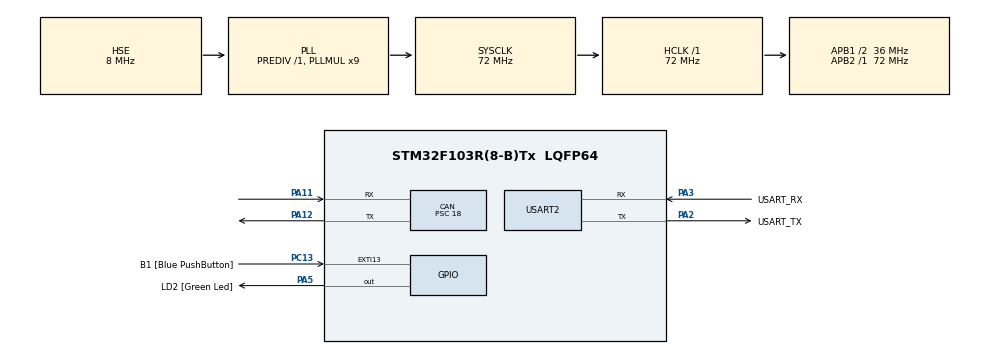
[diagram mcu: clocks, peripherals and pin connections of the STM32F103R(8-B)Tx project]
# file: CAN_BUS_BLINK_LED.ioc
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CAN.BS1=CAN_BS1_2TQ
CAN.CalculateBaudRate=500000
CAN.CalculateTimeBit=2000
CAN.CalculateTimeQuantum=500.0
CAN.Prescaler=18
Mcu.Family=STM32F1
Mcu.Name=STM32F103R(8-B)Tx
Mcu.Package=LQFP64
NVIC.EXTI15_10_IRQn=true\:0\:0\:false\:false\:true\:true\:true\:true
NVIC.PriorityGroup=NVIC_PRIORITYGROUP_4
NVIC.USB_LP_CAN1_RX0_IRQn=true\:0\:0\:false\:false\:true\:true\:true\:true
PA11.Mode=CAN_Activate
PA11.Signal=CAN_RX
PA12.Mode=CAN_Activate
PA12.Signal=CAN_TX
PA13.GPIO_Label=TMS
PA13.Mode=Serial_Wire
PA13.Signal=SYS_JTMS-SWDIO
PA14.GPIO_Label=TCK
PA14.Mode=Serial_Wire
PA14.Signal=SYS_JTCK-SWCLK
PA2.GPIO_Label=USART_TX
PA2.GPIO_Mode=GPIO_MODE_AF_PP
PA2.GPIO_PuPd=GPIO_NOPULL
PA2.GPIO_Speed=GPIO_SPEED_FREQ_LOW
PA2.Mode=Asynchronous
PA2.Signal=USART2_TX
PA3.GPIO_Label=USART_RX
PA3.GPIO_Mode=GPIO_MODE_AF_PP
PA3.GPIO_PuPd=GPIO_NOPULL
PA3.GPIO_Speed=GPIO_SPEED_FREQ_LOW
PA3.Mode=Asynchronous
PA3.Signal=USART2_RX
PA5.GPIO_Label=LD2 [Green Led]
PA5.GPIO_ModeDefaultOutputPP=GPIO_MODE_OUTPUT_PP
PA5.GPIO_PuPd=GPIO_NOPULL
PA5.GPIO_Speed=GPIO_SPEED_FREQ_LOW
PA5.Signal=GPIO_Output
PB3.GPIO_Label=SWO
PB3.Signal=SYS_JTDO-TRACESWO
PC13-TAMPER-RTC.GPIO_Label=B1 [Blue PushButton]
PC13-TAMPER-RTC.GPIO_PuPd=GPIO_NOPULL
PC13-TAMPER-RTC.Signal=GPXTI13
PC14-OSC32_IN.Signal=RCC_OSC32_IN
PC15-OSC32_OUT.Signal=RCC_OSC32_OUT
PD0-OSC_IN.Mode=HSE-External-Oscillator
PD0-OSC_IN.Signal=RCC_OSC_IN
PD1-OSC_OUT.Mode=HSE-External-Oscillator
PD1-OSC_OUT.Signal=RCC_OSC_OUT
ProjectManager.HeapSize=0x200
ProjectManager.StackSize=0x400
ProjectManager.TargetToolchain=STM32CubeIDE
RCC.AHBFreq_Value=72000000
RCC.APB1CLKDivider=RCC_HCLK_DIV2
RCC.APB1Freq_Value=36000000
RCC.APB1TimFreq_Value=72000000
RCC.APB2Freq_Value=72000000
RCC.APB2TimFreq_Value=72000000
RCC.HCLKFreq_Value=72000000
RCC.PLLMUL=RCC_PLL_MUL9
RCC.PLLSourceVirtual=RCC_PLLSOURCE_HSE
RCC.RTCClockSelection=RCC_RTCCLKSOURCE_LSE
RCC.SYSCLKFreq_VALUE=72000000
RCC.SYSCLKSource=RCC_SYSCLKSOURCE_PLLCLK
RCC.USBFreq_Value=72000000
USART2.VirtualMode=VM_ASYNC
board=NUCLEO-F103RB

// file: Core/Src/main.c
/* USER CODE BEGIN Header */
/**
  ******************************************************************************
  * @file           : main.c
  * @brief          : Main program body
  ******************************************************************************
  * @attention
  *
  * Copyright (c) 2025 STMicroelectronics.
  * All rights reserved.
  *
  * This software is licensed under terms that can be found in the LICENSE file
  * in the root directory of this software component.
  * If no LICENSE file comes with this software, it is provided AS-IS.
  *
  ******************************************************************************
  */
/* USER CODE END Header */
#include "main.h"

CAN_HandleTypeDef hcan;

UART_HandleTypeDef huart2;

void SystemClock_Config(void);
static void MX_GPIO_Init(void);
static void MX_USART2_UART_Init(void);
static void MX_CAN_Init(void);

/* USER CODE BEGIN 0 */
CAN_TxHeaderTypeDef   TxHeader;
CAN_TxHeaderTypeDef   RxHeader;
uint8_t               TxData[8];
uint8_t               RxData[8];
uint32_t              TxMailbox;

int datacheck = 0;

void HAL_GPIO_EXTI_Callback(uint16_t GPIO_Pin)
{
	if(GPIO_Pin == GPIO_PIN_13)
	{
		TxData[0] = 100; //ms delay
		TxData[1] = 10; // loop repeat

		HAL_CAN_AddTxMessage(&hcan, &TxHeader, TxData, &TxMailbox);
	}
}

void HAL_CAN_RxFifo0MsgPendingCallback(CAN_HandleTypeDef *hcan)
{
	//count++;
	HAL_CAN_GetRxMessage(hcan, CAN_RX_FIFO0, &RxHeader, RxData);

	if(RxHeader.DLC == 2)
		datacheck = 1;
}
/* USER CODE END 0 */

int main(void)
{

  /* MCU Configuration--------------------------------------------------------*/

  /* Reset of all peripherals, Initializes the Flash interface and the Systick. */
  HAL_Init();

  /* Configure the system clock */
  SystemClock_Config();

  /* Initialize all configured peripherals */
  MX_GPIO_Init();
  MX_USART2_UART_Init();
  MX_CAN_Init();
  /* USER CODE BEGIN 2 */
  HAL_CAN_Start(&hcan);

    HAL_CAN_ActivateNotification(&hcan, CAN_IT_RX_FIFO0_MSG_PENDING);

    TxHeader.DLC = 2;
    TxHeader.ExtId = 0;
    TxHeader.IDE = CAN_ID_STD;
    TxHeader.RTR = CAN_RTR_DATA;
    TxHeader.StdId = 0x446;
//    TxHeader.TransmitGlobalTime = DISABLE;
//    TxData[0] = 0xf3;

  /* USER CODE END 2 */

  /* Infinite loop */
  while (1)
  {

    /* USER CODE BEGIN 3 */
	  if(datacheck)
	  {
		  for(int i=0;i< RxData[1];i++)
		  {
			  HAL_GPIO_TogglePin(GPIOA, GPIO_PIN_5);
			  HAL_Delay(RxData[0]);
		  }
		  datacheck=0;
	  }

  }
  /* USER CODE END 3 */
}

void SystemClock_Config(void)
{
  RCC_OscInitTypeDef RCC_OscInitStruct = {0};
  RCC_ClkInitTypeDef RCC_ClkInitStruct = {0};

  /** Initializes the RCC Oscillators according to the specified parameters
  * in the RCC_OscInitTypeDef structure.
  */
  RCC_OscInitStruct.OscillatorType = RCC_OSCILLATORTYPE_HSE;
  RCC_OscInitStruct.HSEState = RCC_HSE_ON;
  RCC_OscInitStruct.HSEPredivValue = RCC_HSE_PREDIV_DIV1;
  RCC_OscInitStruct.HSIState = RCC_HSI_ON;
  RCC_OscInitStruct.PLL.PLLState = RCC_PLL_ON;
  RCC_OscInitStruct.PLL.PLLSource = RCC_PLLSOURCE_HSE;
  RCC_OscInitStruct.PLL.PLLMUL = RCC_PLL_MUL9;
  if (HAL_RCC_OscConfig(&RCC_OscInitStruct) != HAL_OK)
  {
    Error_Handler();
  }

  /** Initializes the CPU, AHB and APB buses clocks
  */
  RCC_ClkInitStruct.ClockType = RCC_CLOCKTYPE_HCLK|RCC_CLOCKTYPE_SYSCLK
                              |RCC_CLOCKTYPE_PCLK1|RCC_CLOCKTYPE_PCLK2;
  RCC_ClkInitStruct.SYSCLKSource = RCC_SYSCLKSOURCE_PLLCLK;
  RCC_ClkInitStruct.AHBCLKDivider = RCC_SYSCLK_DIV1;
  RCC_ClkInitStruct.APB1CLKDivider = RCC_HCLK_DIV2;
  RCC_ClkInitStruct.APB2CLKDivider = RCC_HCLK_DIV1;

  if (HAL_RCC_ClockConfig(&RCC_ClkInitStruct, FLASH_LATENCY_2) != HAL_OK)
  {
    Error_Handler();
  }
}

static void MX_CAN_Init(void)
{

  hcan.Instance = CAN1;
  hcan.Init.Prescaler = 18;
  hcan.Init.Mode = CAN_MODE_NORMAL;
  hcan.Init.SyncJumpWidth = CAN_SJW_1TQ;
  hcan.Init.TimeSeg1 = CAN_BS1_2TQ;
  hcan.Init.TimeSeg2 = CAN_BS2_1TQ;
  hcan.Init.TimeTriggeredMode = DISABLE;
  hcan.Init.AutoBusOff = DISABLE;
  hcan.Init.AutoWakeUp = DISABLE;
  hcan.Init.AutoRetransmission = DISABLE;
  hcan.Init.ReceiveFifoLocked = DISABLE;
  hcan.Init.TransmitFifoPriority = DISABLE;
  if (HAL_CAN_Init(&hcan) != HAL_OK)
  {
    Error_Handler();
  }
  /* USER CODE BEGIN CAN_Init 2 */
  CAN_FilterTypeDef canfilterconfig;
    canfilterconfig. FilterActivation = CAN_FILTER_ENABLE;
    canfilterconfig. FilterBank = 10;
    canfilterconfig. FilterFIFOAssignment = CAN_RX_FIFO0;
    canfilterconfig. FilterIdHigh = 0x103<<5;
    canfilterconfig. FilterIdLow = 0x0000;
    canfilterconfig. FilterMaskIdHigh = 0x103<<5;
    canfilterconfig. FilterMaskIdLow = 0x0000;
    canfilterconfig. FilterMode= CAN_FILTERMODE_IDMASK;
    canfilterconfig. FilterScale = CAN_FILTERSCALE_32BIT;
    canfilterconfig. SlaveStartFilterBank = 0;

  /* USER CODE END CAN_Init 2 */

}

static void MX_USART2_UART_Init(void)
{

  huart2.Instance = USART2;
  huart2.Init.BaudRate = 115200;
  huart2.Init.WordLength = UART_WORDLENGTH_8B;
  huart2.Init.StopBits = UART_STOPBITS_1;
  huart2.Init.Parity = UART_PARITY_NONE;
  huart2.Init.Mode = UART_MODE_TX_RX;
  huart2.Init.HwFlowCtl = UART_HWCONTROL_NONE;
  huart2.Init.OverSampling = UART_OVERSAMPLING_16;
  if (HAL_UART_Init(&huart2) != HAL_OK)
  {
    Error_Handler();
  }

}

static void MX_GPIO_Init(void)
{
  GPIO_InitTypeDef GPIO_InitStruct = {0};

  /* GPIO Ports Clock Enable */
  __HAL_RCC_GPIOC_CLK_ENABLE();
  __HAL_RCC_GPIOD_CLK_ENABLE();
  __HAL_RCC_GPIOA_CLK_ENABLE();
  __HAL_RCC_GPIOB_CLK_ENABLE();

  /*Configure GPIO pin Output Level */
  HAL_GPIO_WritePin(LD2_GPIO_Port, LD2_Pin, GPIO_PIN_RESET);

  /*Configure GPIO pin : B1_Pin */
  GPIO_InitStruct.Pin = B1_Pin;
  GPIO_InitStruct.Mode = GPIO_MODE_IT_RISING;
  GPIO_InitStruct.Pull = GPIO_NOPULL;
  HAL_GPIO_Init(B1_GPIO_Port, &GPIO_InitStruct);

  /*Configure GPIO pin : LD2_Pin */
  GPIO_InitStruct.Pin = LD2_Pin;
  GPIO_InitStruct.Mode = GPIO_MODE_OUTPUT_PP;
  GPIO_InitStruct.Pull = GPIO_NOPULL;
  GPIO_InitStruct.Speed = GPIO_SPEED_FREQ_LOW;
  HAL_GPIO_Init(LD2_GPIO_Port, &GPIO_InitStruct);

  /* EXTI interrupt init*/
  HAL_NVIC_SetPriority(EXTI15_10_IRQn, 0, 0);
  HAL_NVIC_EnableIRQ(EXTI15_10_IRQn);

}

void Error_Handler(void)
{
  __disable_irq();
  while (1)
  {
  }
}
